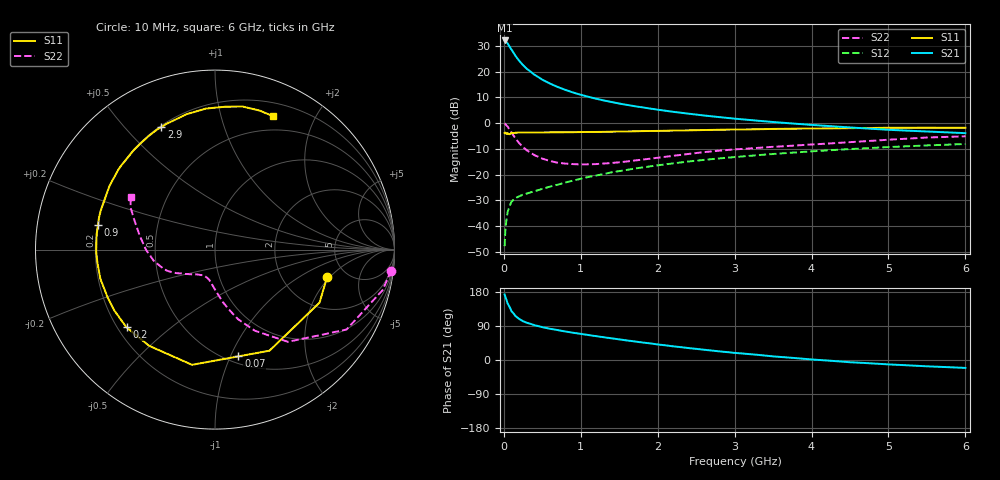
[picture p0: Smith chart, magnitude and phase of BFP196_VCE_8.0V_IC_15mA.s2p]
! Infineon Technologies  Discrete & RF Semiconductors
! BFP196
! VCE =  8.0 V,  IC =  15 mA
! Common Emitter S-Parameters:  Jan 2017
# GHz  S  MA  R  50
!  f  S11  S21  S12  S22
! GHz  MAG  ANG  MAG  ANG  MAG  ANG  MAG  ANG
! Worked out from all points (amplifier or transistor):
!   77 points, 10 MHz to 6 GHz, reference 50 ohm
!   highest |S21| = 32.1 dB at 10 MHz (marker M1)
!   |S21| within 3 dB of that: start of sweep to 87.27 MHz
!   unconditionally stable (mu >= 1): 869.1 MHz to 2.368 GHz
!   at 130 MHz: K = 0.30, MSG = 28.4 dB, |S12| = -29.6 dB
!   at 2.2 GHz: K = 1.02, MAG = 9.3 dB, |S12| = -15.6 dB
!   at 6 GHz: K = 0.91, MSG = 2.1 dB, |S12| = -8.1 dB
!   S11 on the Smith chart (normalised r, x): 10 MHz: 3.59, -1.85; 70 MHz: 0.57, -1.07; 200 MHz: 0.24, -0.36; 900 MHz: 0.20, +0.10; 2.9 GHz: 0.21, +0.63; 6 GHz: 0.34, +1.47
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0.01  0.6431 -13.6  40.06 173.1  0.0041 80.1  0.9884 -6.8
0.02  0.6532 -26.9  39.76 166.6  0.0085 80.1  0.9608 -13.6
0.05  0.6397 -61.7  35.01 148.7  0.019 65.0  0.8575 -31.3
0.07  0.6089 -77.6  31.2 141.9  0.0232 58.1  0.7655 -38.2
0.1  0.6546 -101.3  26.59 128.4  0.03 51.5  0.6548 -51.7
0.15  0.6496 -124.4  20.25 116.2  0.0351 44.4  0.5041 -63.8
0.2  0.6563 -138.7  16.12 108.2  0.038 42.9  0.4085 -71.7
0.25  0.6556 -148.7  13.28 102.3  0.0411 41.2  0.342 -77.0
0.3  0.655 -155.8  11.25 98.2  0.0431 41.7  0.2956 -81.5
0.4  0.6592 -165.7  8.621 91.6  0.0477 44.4  0.2379 -87.7
0.5  0.6592 -173.4  6.949 86.7  0.0529 46.9  0.2047 -93.0
0.6  0.6621 -179.1  5.836 82.4  0.0587 48.8  0.1838 -97.6
0.7  0.6621 176.5  5.014 78.9  0.0639 50.9  0.1703 -101.2
0.9  0.6655 168.3  3.916 72.0  0.0766 53.4  0.1601 -108.4
1.1  0.6727 161.3  3.231 65.9  0.0902 54.9  0.1588 -114.8
1.5  0.6864 148.9  2.395 54.4  0.1171 54.5  0.1737 -127.4
2.1  0.7093 132.0  1.736 38.7  0.1585 51.0  0.2219 -142.7
2.9  0.7457 113.6  1.262 20.9  0.2127 43.6  0.3002 -158.3
3.1  0.7526 109.5  1.183 17.2  0.2255 41.4  0.3156 -162.3
4.1  0.7883 92.1  0.901 0.1  0.289 30.7  0.392 177.8
5.1  0.8112 77.7  0.73 -12.6  0.3478 19.0  0.4851 158.9
6  0.8111 66.4  0.638 -20.9  0.393 8.5  0.5544 147.9
